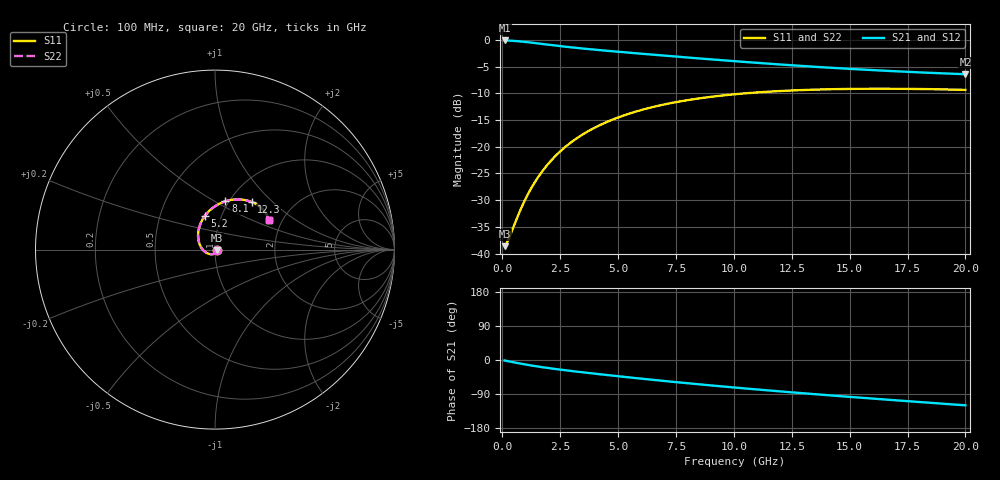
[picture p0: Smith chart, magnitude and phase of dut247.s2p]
! Touchstone file exported from HFSS 2023.1.0
!  File:  D:/Users/fzz/RDL_TSV/temp_RDL_TSV_247_1778759953.aedt
!  Generated:  8:12:43 %x4E0B%x5348  5%x6708 14, 2026
!  Design:  RDL_TSV
!  Project:  temp_RDL_TSV_247_1778759953
!  Setup:  Setup1
!  Solution:  Sweep
! Variables:
!  dtsv = 12.7um
!  hbump = 3um
!  htsv = 70.44um
!  ldown = 190.59um
!  lrdl = 201.12um
!  p = 40
!  p1 = 53.99um
!  rhole = 10um
!  subl = 1376.25um
!  t = 450um
!  tdown = 2.98um
!  trdl = 2.02um
!  viad = 10um
!  wdown = 13.73um
!  wrdl = 24.89um
!  xbump = 18um
# GHz S MA R 50.000000
! Terminal data exported
! Port[1] = TM1_1_T1
! Port[2] = TM1_4_T1
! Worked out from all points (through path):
!   200 points, 100 MHz to 20 GHz, reference 50 ohm
!   highest |S21| = -0.10 dB at 100 MHz (marker M1); lowest = -6.4 dB at 20 GHz (marker M2)
!   group delay of S21, straight-line fit = 15.6 ps
!   lowest |S11| = -38.6 dB at 100 MHz (marker M3), VSWR 1.02, Z = 51.1 - j0.385 ohm
!   |S11| at or under -10 dB: start of sweep to 10.5 GHz
!   |S22| runs from -38.6 to -9.2 dB; largest |S21 - S12| = 5.5e-13
!   S11 on the Smith chart (normalised r, x): 100 MHz: 1.02, -0.01; 5.2 GHz: 0.83, +0.32; 8.1 GHz: 0.96, +0.56; 12.3 GHz: 1.26, +0.75; 20 GHz: 1.71, +0.63
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0.1  0.01172 -18.7  0.9881 -1.3  0.9881 -1.3  0.01172 -18.7
! Gamma 0 0 0 0
! Port Impedance 50 0 50 0
0.2  0.01264 -36.5  0.9869 -2.5  0.9869 -2.5  0.01264 -36.5
0.3  0.01408 -52.6  0.9849 -3.8  0.9849 -3.8  0.01408 -52.6
0.7  0.02325 -101.3  0.9713 -8.6  0.9713 -8.6  0.02325 -101.3
1  0.03235 -126.9  0.9569 -11.9  0.9569 -11.9  0.03235 -126.8
1.3  0.0427 -147.0  0.9406 -15.0  0.9406 -15.0  0.04269 -147.0
1.6  0.05394 -163.5  0.9236 -17.8  0.9236 -17.8  0.05393 -163.4
2  0.06985 178.7  0.901 -21.4  0.901 -21.4  0.06982 178.7
2.5  0.09043 161.1  0.8747 -25.4  0.8747 -25.4  0.09039 161.1
3  0.1111 147.0  0.8509 -29.2  0.8509 -29.2  0.1111 147.0
3.5  0.1314 135.4  0.8295 -32.7  0.8295 -32.7  0.1314 135.5
4.3  0.1625 120.5  0.7988 -38.2  0.7988 -38.2  0.1624 120.5
5.2  0.1947 107.2  0.7679 -44.1  0.7679 -44.1  0.1946 107.3
6  0.2205 97.5  0.7424 -49.2  0.7424 -49.2  0.2203 97.5
6.8  0.2435 89.2  0.7183 -54.2  0.7183 -54.2  0.2433 89.2
8.1  0.2752 77.9  0.6814 -61.9  0.6814 -61.9  0.2749 77.9
10.1  0.3108 64.1  0.6304 -73.1  0.6304 -73.1  0.3104 64.1
12.3  0.3347 52.5  0.5826 -84.4  0.5826 -84.4  0.3344 52.5
13.4  0.3419 47.7  0.5619 -89.8  0.5619 -89.8  0.3415 47.7
15  0.3477 41.6  0.5356 -97.3  0.5356 -97.3  0.3472 41.6
16.7  0.3489 36.3  0.512 -105.1  0.512 -105.1  0.3484 36.3
20  0.3406 28.7  0.4771 -119.6  0.4771 -119.6  0.34 28.7
